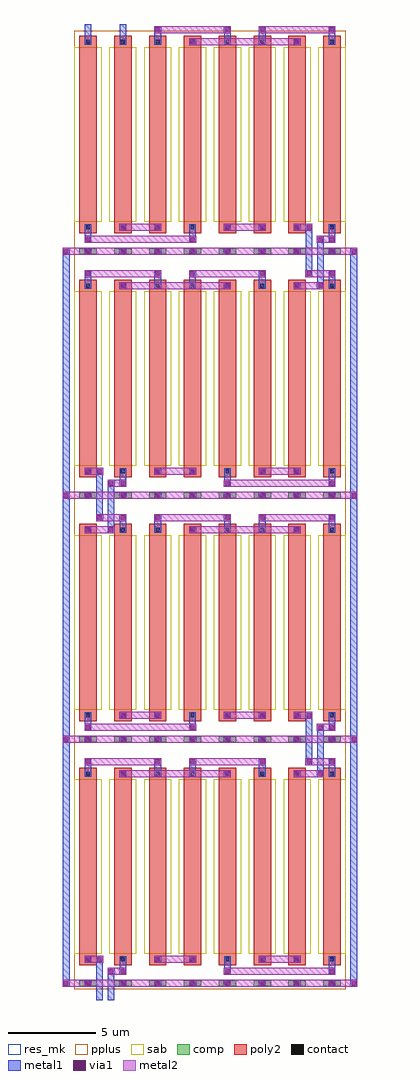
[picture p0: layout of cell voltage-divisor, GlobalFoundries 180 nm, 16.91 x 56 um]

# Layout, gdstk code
from math import pi, radians
import gdstk
lib = gdstk.Library(unit=1e-6, precision=5e-09)
def R(c, l, rs):  # rectangles x0, y0, x1, y1
    for r in rs: c.add(gdstk.rectangle(r[:2], r[2:], *l))
def A(c, l, x, y, w, h, nx, ny, dx, dy):  # array of equal rectangles
    R(c, l, [(x+i*dx, y+j*dy, x+i*dx+w, y+j*dy+h) for i in range(nx) for j in range(ny)])
comp = (22, 0)
poly2 = (30, 0)
pplus = (31, 0)
contact = (33, 0)
metal1 = (34, 0)
via1 = (35, 0)
metal2 = (36, 0)
sab = (49, 0)
res_mk = (110, 5)

ppolyf_u_resistor_1 = lib.new_cell('ppolyf_u_resistor$1')
A(ppolyf_u_resistor_1, comp, -1.88, 0, 0.36, 1, 4, 8, 14, 2)
A(ppolyf_u_resistor_1, poly2, -0.66, 0, 11.32, 1, 4, 8, 14, 2)
A(ppolyf_u_resistor_1, pplus, -0.96, -0.3, 11.92, 1.6, 4, 8, 14, 2)
A(ppolyf_u_resistor_1, pplus, -2.04, -0.16, 0.68, 1.32, 4, 8, 14, 2)
A(ppolyf_u_resistor_1, contact, -1.81, 0.39, 0.22, 0.22, 1, 8, 0, 2)
A(ppolyf_u_resistor_1, contact, -0.44, 0.39, 0.22, 0.22, 1, 8, 0, 2)
A(ppolyf_u_resistor_1, contact, 10.22, 0.39, 0.22, 0.22, 1, 8, 0, 2)
A(ppolyf_u_resistor_1, contact, 12.19, 0.39, 0.22, 0.22, 1, 8, 0, 2)
A(ppolyf_u_resistor_1, contact, 13.56, 0.39, 0.22, 0.22, 1, 8, 0, 2)
A(ppolyf_u_resistor_1, contact, 24.22, 0.39, 0.22, 0.22, 1, 8, 0, 2)
A(ppolyf_u_resistor_1, contact, 26.19, 0.39, 0.22, 0.22, 1, 8, 0, 2)
A(ppolyf_u_resistor_1, contact, 27.56, 0.39, 0.22, 0.22, 1, 8, 0, 2)
A(ppolyf_u_resistor_1, contact, 38.22, 0.39, 0.22, 0.22, 1, 8, 0, 2)
A(ppolyf_u_resistor_1, contact, 40.19, 0.39, 0.22, 0.22, 1, 8, 0, 2)
A(ppolyf_u_resistor_1, contact, 41.56, 0.39, 0.22, 0.22, 1, 8, 0, 2)
A(ppolyf_u_resistor_1, contact, 52.22, 0.39, 0.22, 0.22, 1, 8, 0, 2)
A(ppolyf_u_resistor_1, metal1, -1.89, 0.31, 0.38, 0.38, 1, 8, 0, 2)
A(ppolyf_u_resistor_1, metal1, -0.52, 0.31, 0.38, 0.38, 1, 8, 0, 2)
A(ppolyf_u_resistor_1, metal1, 10.14, 0.31, 0.38, 0.38, 1, 8, 0, 2)
A(ppolyf_u_resistor_1, metal1, 12.11, 0.31, 0.38, 0.38, 1, 8, 0, 2)
A(ppolyf_u_resistor_1, metal1, 13.48, 0.31, 0.38, 0.38, 1, 8, 0, 2)
A(ppolyf_u_resistor_1, metal1, 24.14, 0.31, 0.38, 0.38, 1, 8, 0, 2)
A(ppolyf_u_resistor_1, metal1, 26.11, 0.31, 0.38, 0.38, 1, 8, 0, 2)
A(ppolyf_u_resistor_1, metal1, 27.48, 0.31, 0.38, 0.38, 1, 8, 0, 2)
A(ppolyf_u_resistor_1, metal1, 38.14, 0.31, 0.38, 0.38, 1, 8, 0, 2)
A(ppolyf_u_resistor_1, metal1, 40.11, 0.31, 0.38, 0.38, 1, 8, 0, 2)
A(ppolyf_u_resistor_1, metal1, 41.48, 0.31, 0.38, 0.38, 1, 8, 0, 2)
A(ppolyf_u_resistor_1, metal1, 52.14, 0.31, 0.38, 0.38, 1, 8, 0, 2)
A(ppolyf_u_resistor_1, sab, 0, -0.28, 10, 1.56, 4, 8, 14, 2)
A(ppolyf_u_resistor_1, res_mk, 0, 0, 10, 1, 4, 8, 14, 2)

via_dev_3 = lib.new_cell('via_dev$3')
R(via_dev_3, metal1, [(0,0,0.4,0.4)])
R(via_dev_3, via1, [(0.07,0.07,0.33,0.33)])
R(via_dev_3, metal2, [(0,0,0.4,0.4)])

voltage_divisor = lib.new_cell('voltage-divisor')
R(voltage_divisor, pplus, [(-1.485,-4.38,14.115,50.62)])
A(voltage_divisor, metal1, 1.125, -3.16, 0.38, 0.3, 3, 2, 6, 28)
A(voltage_divisor, metal1, 3.125, 8.18, 0.38, 0.3, 1, 4, 0, 14)
A(voltage_divisor, metal1, 5.125, 8.18, 0.38, 0.3, 3, 2, 4, 28)
R(voltage_divisor, metal1, [(-0.205,-5,0.175,-2.87), (0.455,-5,0.835,-3.56), (-2.14,-3.84,-1.74,37.76), (14.37,-3.84,14.77,37.76), (-0.875,8.18,-0.495,8.48), (13.125,8.18,13.505,8.48), (12.455,8.19,12.835,10.44), (12.455,8.19,12.835,10.44), (11.795,8.88,12.175,11.13), (11.795,8.88,12.175,11.13), (-0.875,10.84,-0.495,11.14), (5.125,10.84,5.505,11.14), (13.125,10.84,13.505,11.14), (13.125,10.84,13.505,11.14), (1.125,22.18,1.505,22.48), (7.125,22.18,7.505,22.48), (9.125,22.18,9.505,22.48), (13.125,22.18,13.505,22.48), (0.455,22.19,0.835,24.44), (-0.205,22.88,0.175,25.13), (-0.875,36.18,-0.495,36.48), (12.455,36.19,12.835,38.44), (11.795,36.88,12.175,39.13), (-0.875,38.84,-0.495,39.14), (5.125,38.84,5.505,39.14), (13.125,38.84,13.505,39.14), (-0.875,50.18,-0.495,51), (1.125,50.18,1.505,51), (7.125,50.18,7.505,50.48), (9.125,50.18,9.505,50.48), (13.125,50.18,13.505,50.48)])
A(voltage_divisor, metal2, -1.74, -4.24, 0.855, 0.4, 1, 4, 0, 14)
A(voltage_divisor, metal2, -0.485, -4.24, 13.6, 0.4, 1, 4, 0, 14)
A(voltage_divisor, metal2, 13.515, -4.24, 0.855, 0.4, 1, 4, 0, 14)
R(voltage_divisor, metal2, [(0.845,-3.56,1.115,-3.16), (7.515,-3.56,13.115,-3.16), (-0.485,-2.87,-0.215,-2.47), (3.515,-2.87,5.115,-2.47), (9.515,-2.87,11.115,-2.47), (1.515,7.79,7.115,8.19), (11.515,7.79,12.445,8.19), (11.515,7.79,12.445,8.19), (-0.485,8.48,3.115,8.88), (5.515,8.48,9.115,8.88), (12.185,8.48,13.115,8.88), (12.185,8.48,13.115,8.88), (-0.485,10.44,5.115,10.84), (12.845,10.44,13.115,10.84), (12.845,10.44,13.115,10.84), (1.515,11.13,3.115,11.53), (7.515,11.13,9.115,11.53), (11.515,11.13,11.785,11.53), (11.515,11.13,11.785,11.53), (-0.485,21.79,0.445,22.19), (5.515,21.79,11.115,22.19), (0.185,22.48,1.115,22.88), (3.515,22.48,7.115,22.88), (9.515,22.48,13.115,22.88), (0.845,24.44,1.115,24.84), (7.515,24.44,13.115,24.84), (-0.485,25.13,-0.215,25.53), (3.515,25.13,5.115,25.53), (9.515,25.13,11.115,25.53), (1.515,35.79,7.115,36.19), (11.515,35.79,12.445,36.19), (-0.485,36.48,3.115,36.88), (5.515,36.48,9.115,36.88), (12.185,36.48,13.115,36.88), (-0.485,38.44,5.115,38.84), (12.845,38.44,13.115,38.84), (1.515,39.13,3.115,39.53), (7.515,39.13,9.115,39.53), (11.515,39.13,11.785,39.53), (5.515,49.79,11.115,50.19), (3.515,50.48,7.115,50.88), (9.515,50.48,13.115,50.88)])
voltage_divisor.add(gdstk.Reference(ppolyf_u_resistor_1, (13.815,-2.34), rotation=pi/2))
voltage_divisor.add(gdstk.Reference(via_dev_3, (13.115,50.48)))
voltage_divisor.add(gdstk.Reference(via_dev_3, (11.115,49.79)))
voltage_divisor.add(gdstk.Reference(via_dev_3, (7.115,39.13)))
voltage_divisor.add(gdstk.Reference(via_dev_3, (9.115,39.13)))
voltage_divisor.add(gdstk.Reference(via_dev_3, (9.115,50.48)))
voltage_divisor.add(gdstk.Reference(via_dev_3, (9.115,25.13)))
voltage_divisor.add(gdstk.Reference(via_dev_3, (11.115,25.13)))
voltage_divisor.add(gdstk.Reference(via_dev_3, (7.115,24.44)))
voltage_divisor.add(gdstk.Reference(via_dev_3, (13.115,24.44)))
voltage_divisor.add(gdstk.Reference(via_dev_3, (9.115,36.48)))
voltage_divisor.add(gdstk.Reference(via_dev_3, (7.115,35.79)))
voltage_divisor.add(gdstk.Reference(via_dev_3, (9.115,37.76)))
voltage_divisor.add(gdstk.Reference(via_dev_3, (7.115,37.76)))
voltage_divisor.add(gdstk.Reference(via_dev_3, (11.115,23.76)))
voltage_divisor.add(gdstk.Reference(via_dev_3, (9.115,23.76)))
voltage_divisor.add(gdstk.Reference(via_dev_3, (7.115,23.76)))
voltage_divisor.add(gdstk.Reference(via_dev_3, (13.115,23.76)))
voltage_divisor.add(gdstk.Reference(via_dev_3, (12.445,38.44)))
voltage_divisor.add(gdstk.Reference(via_dev_3, (13.115,38.44)))
voltage_divisor.add(gdstk.Reference(via_dev_3, (11.785,39.13)))
voltage_divisor.add(gdstk.Reference(via_dev_3, (11.115,39.13)))
voltage_divisor.add(gdstk.Reference(via_dev_3, (11.115,35.79)))
voltage_divisor.add(gdstk.Reference(via_dev_3, (12.445,35.79)))
voltage_divisor.add(gdstk.Reference(via_dev_3, (11.785,36.48)))
voltage_divisor.add(gdstk.Reference(via_dev_3, (13.115,36.48)))
voltage_divisor.add(gdstk.Reference(via_dev_3, (13.115,37.76)))
voltage_divisor.add(gdstk.Reference(via_dev_3, (11.115,37.76)))
voltage_divisor.add(gdstk.Reference(via_dev_3, (14.37,37.76)))
voltage_divisor.add(gdstk.Reference(via_dev_3, (14.37,23.76)))
voltage_divisor.add(gdstk.Reference(via_dev_3, (7.115,50.48)))
voltage_divisor.add(gdstk.Reference(via_dev_3, (1.115,23.76)))
voltage_divisor.add(gdstk.Reference(via_dev_3, (-0.885,23.76)))
voltage_divisor.add(gdstk.Reference(via_dev_3, (5.115,23.76)))
voltage_divisor.add(gdstk.Reference(via_dev_3, (1.115,39.13)))
voltage_divisor.add(gdstk.Reference(via_dev_3, (3.115,39.13)))
voltage_divisor.add(gdstk.Reference(via_dev_3, (-0.885,36.48)))
voltage_divisor.add(gdstk.Reference(via_dev_3, (3.115,36.48)))
voltage_divisor.add(gdstk.Reference(via_dev_3, (5.115,38.44)))
voltage_divisor.add(gdstk.Reference(via_dev_3, (-0.885,38.44)))
voltage_divisor.add(gdstk.Reference(via_dev_3, (5.115,25.13)))
voltage_divisor.add(gdstk.Reference(via_dev_3, (3.115,50.48)))
voltage_divisor.add(gdstk.Reference(via_dev_3, (1.115,35.79)))
voltage_divisor.add(gdstk.Reference(via_dev_3, (5.115,36.48)))
voltage_divisor.add(gdstk.Reference(via_dev_3, (5.115,37.76)))
voltage_divisor.add(gdstk.Reference(via_dev_3, (3.115,37.76)))
voltage_divisor.add(gdstk.Reference(via_dev_3, (1.115,37.76)))
voltage_divisor.add(gdstk.Reference(via_dev_3, (-0.885,37.76)))
voltage_divisor.add(gdstk.Reference(via_dev_3, (0.445,24.44)))
voltage_divisor.add(gdstk.Reference(via_dev_3, (1.115,24.44)))
voltage_divisor.add(gdstk.Reference(via_dev_3, (-0.215,25.13)))
voltage_divisor.add(gdstk.Reference(via_dev_3, (-0.885,25.13)))
voltage_divisor.add(gdstk.Reference(via_dev_3, (5.115,37.76)))
voltage_divisor.add(gdstk.Reference(via_dev_3, (5.115,49.79)))
voltage_divisor.add(gdstk.Reference(via_dev_3, (3.115,25.13)))
voltage_divisor.add(gdstk.Reference(via_dev_3, (5.115,23.76)))
voltage_divisor.add(gdstk.Reference(via_dev_3, (-2.14,23.76)))
voltage_divisor.add(gdstk.Reference(via_dev_3, (-2.14,37.76)))
voltage_divisor.add(gdstk.Reference(via_dev_3, (3.115,23.76)))
voltage_divisor.add(gdstk.Reference(via_dev_3, (5.115,-4.24)))
voltage_divisor.add(gdstk.Reference(via_dev_3, (3.115,22.48)))
voltage_divisor.add(gdstk.Reference(via_dev_3, (5.115,21.79)))
voltage_divisor.add(gdstk.Reference(via_dev_3, (-0.885,8.48)))
voltage_divisor.add(gdstk.Reference(via_dev_3, (3.115,8.48)))
voltage_divisor.add(gdstk.Reference(via_dev_3, (1.115,7.79)))
voltage_divisor.add(gdstk.Reference(via_dev_3, (5.115,8.48)))
voltage_divisor.add(gdstk.Reference(via_dev_3, (5.115,-2.87)))
voltage_divisor.add(gdstk.Reference(via_dev_3, (3.115,-2.87)))
voltage_divisor.add(gdstk.Reference(via_dev_3, (-0.885,10.44)))
voltage_divisor.add(gdstk.Reference(via_dev_3, (5.115,10.44)))
voltage_divisor.add(gdstk.Reference(via_dev_3, (3.115,11.13)))
voltage_divisor.add(gdstk.Reference(via_dev_3, (1.115,11.13)))
voltage_divisor.add(gdstk.Reference(via_dev_3, (5.115,9.76)))
voltage_divisor.add(gdstk.Reference(via_dev_3, (3.115,9.76)))
voltage_divisor.add(gdstk.Reference(via_dev_3, (-0.885,21.79)))
voltage_divisor.add(gdstk.Reference(via_dev_3, (0.445,21.79)))
voltage_divisor.add(gdstk.Reference(via_dev_3, (-0.215,22.48)))
voltage_divisor.add(gdstk.Reference(via_dev_3, (1.115,22.48)))
voltage_divisor.add(gdstk.Reference(via_dev_3, (0.445,-3.56)))
voltage_divisor.add(gdstk.Reference(via_dev_3, (1.115,-3.56)))
voltage_divisor.add(gdstk.Reference(via_dev_3, (-0.215,-2.87)))
voltage_divisor.add(gdstk.Reference(via_dev_3, (-0.885,-2.87)))
voltage_divisor.add(gdstk.Reference(via_dev_3, (1.115,9.76)))
voltage_divisor.add(gdstk.Reference(via_dev_3, (-0.885,9.76)))
voltage_divisor.add(gdstk.Reference(via_dev_3, (5.115,9.76)))
voltage_divisor.add(gdstk.Reference(via_dev_3, (5.115,-4.24)))
voltage_divisor.add(gdstk.Reference(via_dev_3, (-2.14,-4.24)))
voltage_divisor.add(gdstk.Reference(via_dev_3, (-2.14,9.76)))
voltage_divisor.add(gdstk.Reference(via_dev_3, (3.115,-4.24)))
voltage_divisor.add(gdstk.Reference(via_dev_3, (1.115,-4.24)))
voltage_divisor.add(gdstk.Reference(via_dev_3, (-0.885,-4.24)))
voltage_divisor.add(gdstk.Reference(via_dev_3, (11.115,9.76)))
voltage_divisor.add(gdstk.Reference(via_dev_3, (11.785,11.13)))
voltage_divisor.add(gdstk.Reference(via_dev_3, (11.115,11.13)))
voltage_divisor.add(gdstk.Reference(via_dev_3, (11.115,7.79)))
voltage_divisor.add(gdstk.Reference(via_dev_3, (12.445,7.79)))
voltage_divisor.add(gdstk.Reference(via_dev_3, (11.785,8.48)))
voltage_divisor.add(gdstk.Reference(via_dev_3, (13.115,8.48)))
voltage_divisor.add(gdstk.Reference(via_dev_3, (13.115,8.48)))
voltage_divisor.add(gdstk.Reference(via_dev_3, (11.785,8.48)))
voltage_divisor.add(gdstk.Reference(via_dev_3, (12.445,7.79)))
voltage_divisor.add(gdstk.Reference(via_dev_3, (11.115,7.79)))
voltage_divisor.add(gdstk.Reference(via_dev_3, (11.115,11.13)))
voltage_divisor.add(gdstk.Reference(via_dev_3, (11.785,11.13)))
voltage_divisor.add(gdstk.Reference(via_dev_3, (13.115,9.76)))
voltage_divisor.add(gdstk.Reference(via_dev_3, (11.115,9.76)))
voltage_divisor.add(gdstk.Reference(via_dev_3, (13.115,10.44)))
voltage_divisor.add(gdstk.Reference(via_dev_3, (12.445,10.44)))
voltage_divisor.add(gdstk.Reference(via_dev_3, (9.115,9.76)))
voltage_divisor.add(gdstk.Reference(via_dev_3, (7.115,9.76)))
voltage_divisor.add(gdstk.Reference(via_dev_3, (13.115,9.76)))
voltage_divisor.add(gdstk.Reference(via_dev_3, (9.115,-2.87)))
voltage_divisor.add(gdstk.Reference(via_dev_3, (11.115,-2.87)))
voltage_divisor.add(gdstk.Reference(via_dev_3, (9.115,22.48)))
voltage_divisor.add(gdstk.Reference(via_dev_3, (7.115,-3.56)))
voltage_divisor.add(gdstk.Reference(via_dev_3, (13.115,-3.56)))
voltage_divisor.add(gdstk.Reference(via_dev_3, (11.115,-4.24)))
voltage_divisor.add(gdstk.Reference(via_dev_3, (9.115,-4.24)))
voltage_divisor.add(gdstk.Reference(via_dev_3, (7.115,-4.24)))
voltage_divisor.add(gdstk.Reference(via_dev_3, (13.115,-4.24)))
voltage_divisor.add(gdstk.Reference(via_dev_3, (9.115,11.13)))
voltage_divisor.add(gdstk.Reference(via_dev_3, (7.115,22.48)))
voltage_divisor.add(gdstk.Reference(via_dev_3, (9.115,8.48)))
voltage_divisor.add(gdstk.Reference(via_dev_3, (7.115,7.79)))
voltage_divisor.add(gdstk.Reference(via_dev_3, (14.37,9.76)))
voltage_divisor.add(gdstk.Reference(via_dev_3, (14.37,-4.24)))
voltage_divisor.add(gdstk.Reference(via_dev_3, (13.115,22.48)))
voltage_divisor.add(gdstk.Reference(via_dev_3, (12.445,10.44)))
voltage_divisor.add(gdstk.Reference(via_dev_3, (11.115,21.79)))
voltage_divisor.add(gdstk.Reference(via_dev_3, (7.115,11.13)))
voltage_divisor.add(gdstk.Reference(via_dev_3, (13.115,10.44)))

lib.write_gds('voltage-divisor.gds')
